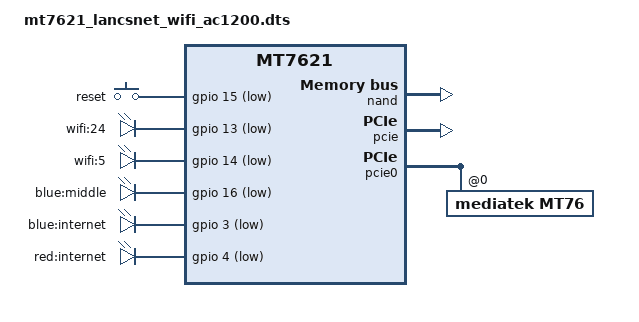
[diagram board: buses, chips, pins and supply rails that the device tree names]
// SPDX-License-Identifier: GPL-2.0-or-later OR MIT

#include "mt7621.dtsi"

#include <dt-bindings/gpio/gpio.h>
#include <dt-bindings/input/input.h>

/ {
	compatible = "mediatek,mt7621-eval-board","ralink,mt7621-soc","lancsnet,wifi-ac1200";

	aliases {
		led-boot = &middle_led;
		led-failsafe = &middle_led;
		led-running = &middle_led;
		led-upgrade = &middle_led;
	};

	chosen {
		bootargs = "console=ttyS0,57600n8 rootfstype=ubifs ubi.mtd=4 ubi.mtd=5 ";
	};
	
	keys {
		compatible = "gpio-keys";

		reset {
			label = "reset";
			gpios = <&gpio 15 GPIO_ACTIVE_LOW>;
			linux,code = <KEY_RESTART>;
		};
	};
	
	leds {
		compatible = "gpio-leds";
		
		
		wifi24: sys_yellow {
			label = "wifi:24";
			gpios = <&gpio 13 GPIO_ACTIVE_LOW>;
			linux,default-trigger = "timer";
		};
		
		wifi5 {
			label = "wifi:5";
			gpios = <&gpio 14 GPIO_ACTIVE_LOW>;
			linux,default-trigger = "timer";
		};

		middle_led: middle {
			label = "blue:middle";
			gpios = <&gpio 16 GPIO_ACTIVE_LOW>;
			linux,default-trigger = "timer";
		};
		
		led_internet_blue: internet_blue {
			label = "blue:internet";
			gpios = <&gpio 3 GPIO_ACTIVE_LOW>;
		};

		led_internet_red: internet_red {
			label = "red:internet";
			gpios = <&gpio 4 GPIO_ACTIVE_LOW>;
		};
				
	};
};

&nand {
	status = "okay";

	   partitions {
		compatible = "fixed-partitions";
		#address-cells = <1>;
		#size-cells = <1>;

		
		partition@0 {
			label = "Bootloader";
			reg = <0x0 0x80000>;
			read-only;
		};
		
		partition@80000 {
			label = "Config";
			reg = <0x80000 0x80000>;

		};

		factory: partition@100000 {
			label = "Factory";
			reg = <0x100000 0x40000>;
		};

		partition@140000 {
			label = "kernel";
			reg = <0x140000 0x400000>;
		};

		partition@540000 {
			label = "ubi";
			reg = <0x540000 0x5c00000>;
		};
		
		partition@0x6140000 {
			label = "ubi1";
			reg = <0x6140000 0x0e40000>;
		};
	};

};

&pcie {
	status = "okay";
};

&pcie0 {
	mt76@0,0 {
		compatible = "mediatek,mt76";
		reg = <0x0000 0 0 0 0>;
		mediatek,mtd-eeprom = <&factory 0x0000>;
	};
};

&state_default {
	gpio {
		groups = "jtag" , "uart3", "wdt";
		function = "gpio";
	};
};

&switch0 {
	ports {
		port@2 {
			status = "okay";
			label = "eth1";
			mtd-mac-address = <&factory 0xe006>;
		};

		port@4 {
			status = "okay";
			label = "lan2";
			mtd-mac-address = <&factory 0xe000>;
			mtd-mac-address-increment = <1>;
		};

		port@3 {
			status = "okay";
			label = "lan1";
			mtd-mac-address = <&factory 0xe000>;
		};
	};
};

